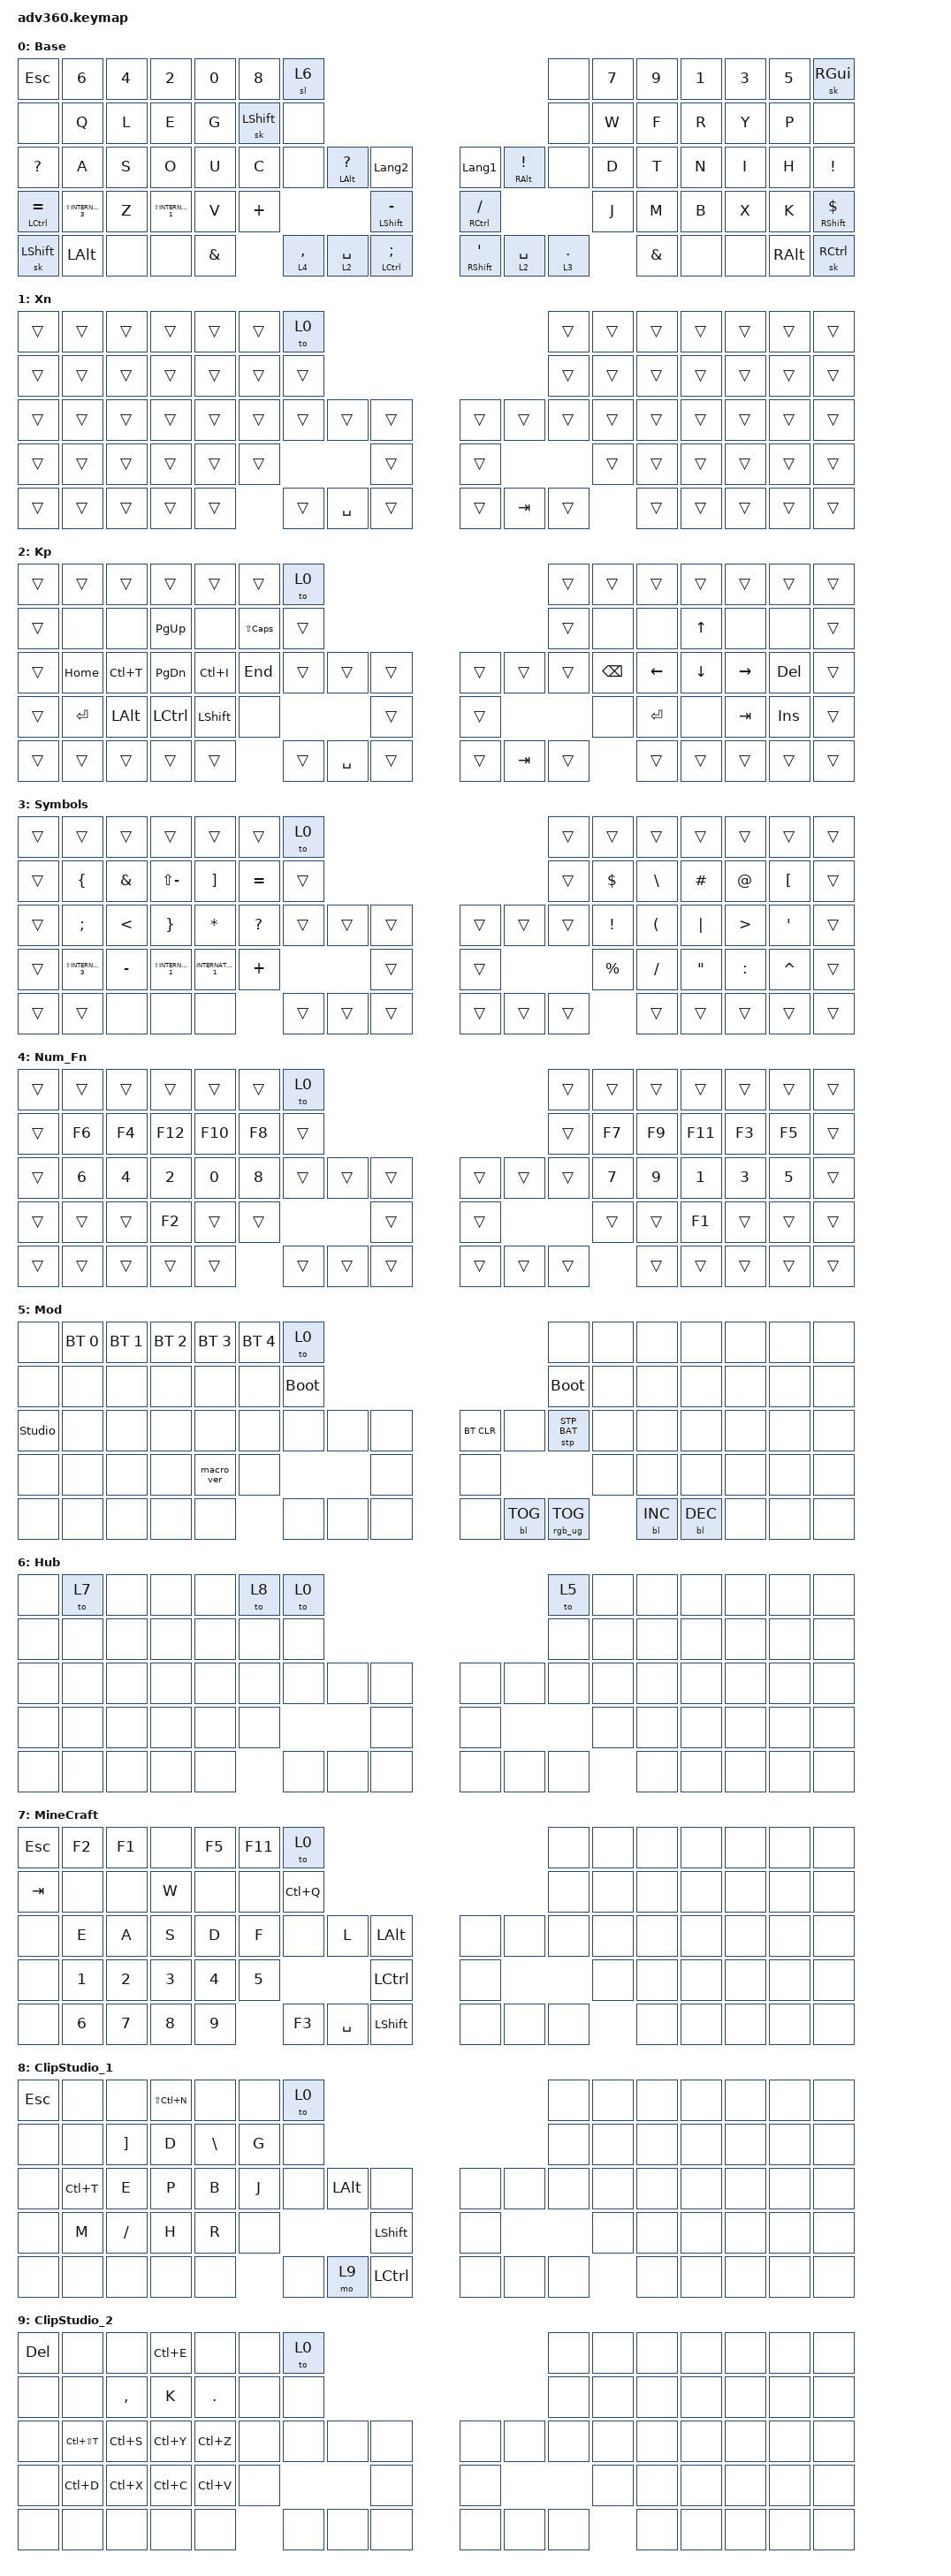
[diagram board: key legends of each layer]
#include <dt-bindings/zmk/stp.h>
#include <behaviors.dtsi>
#include <dt-bindings/zmk/backlight.h>
#include <dt-bindings/zmk/bt.h>
#include <dt-bindings/zmk/keys.h>
#include <dt-bindings/zmk/rgb.h>

#undef CONFIG_ZMK_MACRO_DEFAULT_WAIT_MS

#define CONFIG_ZMK_MACRO_DEFAULT_WAIT_MS 10

#undef CONFIG_ZMK_MACRO_DEFAULT_TAP_MS

#define CONFIG_ZMK_MACRO_DEFAULT_TAP_MS 20

/ {
    behaviors {
        #include "macros.dtsi"
        #include "version.dtsi"

        hm: homerow_mods {
            compatible = "zmk,behavior-hold-tap";
            label = "HOMEROW_MODS";
            #binding-cells = <2>;
            tapping-term-ms = <200>;
            quick_tap_ms = <175>;
            flavor = "tap-preferred";
            bindings = <&kp>, <&kp>;
        };
    };

    macros {
        m_an: m_axn {
            compatible = "zmk,behavior-macro";
            #binding-cells = <0>;
            bindings = <&kp A &kp X>;
            label = "M_AXN";
        };

        m_in: m_ixn {
            compatible = "zmk,behavior-macro";
            #binding-cells = <0>;
            bindings = <&kp I &kp X>;
            label = "M_IXN";
        };

        m_un: m_uxn {
            compatible = "zmk,behavior-macro";
            #binding-cells = <0>;
            bindings = <&kp U &kp X>;
            label = "M_UXN";
        };

        m_en: m_exn {
            compatible = "zmk,behavior-macro";
            #binding-cells = <0>;
            bindings = <&kp E &kp X>;
            label = "M_EXN";
        };

        m_on: m_oxn {
            compatible = "zmk,behavior-macro";
            #binding-cells = <0>;
            bindings = <&kp O &kp X>;
            label = "M_OXN";
        };

        m_UUU: m_UUU {
            compatible = "zmk,behavior-macro";
            #binding-cells = <0>;
            bindings = <&kp F10 &kp F10>;
            label = "M_UUU";
        };

        m_Ull: m_Ull {
            compatible = "zmk,behavior-macro";
            #binding-cells = <0>;
            bindings = <&kp F10 &kp F10 &kp F10>;
            label = "M_ULL";
        };

        m_qn: m_qn {
            compatible = "zmk,behavior-macro";
            #binding-cells = <0>;
            bindings = <&kp Q &kp X>;
            label = "M_QN";
        };

        m_jn: m_jn {
            compatible = "zmk,behavior-macro";
            #binding-cells = <0>;
            bindings = <&kp J &kp X>;
            label = "M_JN";
        };

        m_wn: m_wn {
            compatible = "zmk,behavior-macro";
            #binding-cells = <0>;
            bindings = <&kp W &kp X>;
            label = "M_WN";
        };

        m_vn: m_vn {
            compatible = "zmk,behavior-macro";
            #binding-cells = <0>;
            bindings = <&kp V &kp X>;
            label = "M_VN";
        };

        m_gn: m_gn {
            compatible = "zmk,behavior-macro";
            #binding-cells = <0>;
            bindings = <&kp G &kp X>;
            label = "M_GN";
        };

        m_yn: m_yn {
            compatible = "zmk,behavior-macro";
            #binding-cells = <0>;
            bindings = <&kp Y &kp X>;
            label = "M_YN";
        };

        m_pn: m_pn {
            compatible = "zmk,behavior-macro";
            #binding-cells = <0>;
            bindings = <&kp P &kp X>;
            label = "M_PN";
        };

        m_mn: m_n {
            compatible = "zmk,behavior-macro";
            #binding-cells = <0>;
            bindings = <&kp M &kp X>;
            label = "M_N";
        };

        m_sin: m_sin {
            compatible = "zmk,behavior-macro";
            #binding-cells = <0>;
            bindings = <&kp S &kp I &kp X>;
            label = "M_SIN";
        };

        m_jin: m_jin {
            compatible = "zmk,behavior-macro";
            #binding-cells = <0>;
            bindings = <&kp J &kp I &kp X>;
            label = "M_JIN";
        };

        m__n: m__n {
            compatible = "zmk,behavior-macro";
            #binding-cells = <0>;
            bindings = <&kp MINUS &kp X>;
            label = "M__N";
        };
    };

    keymap {
        compatible = "zmk,keymap";

        default_layer {
            label = "Base";
            bindings = <
&kp ESCAPE              &kp NUMBER_6             &kp NUMBER_4  &kp NUMBER_2             &kp NUMBER_0   &kp NUMBER_8    &sl 6                                                                                                                        &none      &kp NUMBER_7  &kp NUMBER_9   &kp NUMBER_1  &kp NUMBER_3  &kp NUMBER_5   &sk RIGHT_GUI
&none                   &kp Q                    &kp L         &kp E                    &kp G          &sk LEFT_SHIFT  &none                                                                                                                        &none      &kp W         &kp F          &kp R         &kp Y         &kp P          &none
&kp QUESTION            &kp A                    &kp S         &kp O                    &kp U          &kp C           &none        &mt LEFT_ALT QUESTION  &kp LANGUAGE_2                  &kp LANGUAGE_1                &mt RIGHT_ALT EXCLAMATION  &none      &kp D         &kp T          &kp N         &kp I         &kp H          &kp EXCLAMATION
&mt LEFT_CONTROL EQUAL  &kp LS(INTERNATIONAL_3)  &kp Z         &kp LS(INTERNATIONAL_1)  &kp V          &kp PLUS                                            &mt LEFT_SHIFT MINUS            &mt RIGHT_CONTROL SLASH                                             &kp J         &kp M          &kp B         &kp X         &kp K          &mt RIGHT_SHIFT DOLLAR
&sk LEFT_SHIFT          &kp LEFT_ALT             &none         &none                    &kp AMPERSAND                  &lt 4 COMMA  &lt 2 SPACE            &mt LEFT_CONTROL SEMICOLON      &mt RIGHT_SHIFT SINGLE_QUOTE  &lt 2 SPACE                &lt 3 DOT                &kp AMPERSAND  &none         &none         &kp RIGHT_ALT  &sk RIGHT_CONTROL
            >;
        };

        xn {
            label = "Xn";
            bindings = <
&trans  &trans  &trans  &trans  &trans  &trans  &to 0                                           &trans  &trans  &trans  &trans  &trans  &trans  &trans
&trans  &trans  &trans  &trans  &trans  &trans  &trans                                          &trans  &trans  &trans  &trans  &trans  &trans  &trans
&trans  &trans  &trans  &trans  &trans  &trans  &trans  &trans     &trans      &trans  &trans   &trans  &trans  &trans  &trans  &trans  &trans  &trans
&trans  &trans  &trans  &trans  &trans  &trans                     &trans      &trans                   &trans  &trans  &trans  &trans  &trans  &trans
&trans  &trans  &trans  &trans  &trans          &trans  &kp SPACE  &trans      &trans  &kp TAB  &trans          &trans  &trans  &trans  &trans  &trans
            >;
        };

        keypad {
            label = "Kp";
            bindings = <
&trans  &trans     &trans        &trans         &trans          &trans            &to 0                                           &trans  &trans         &trans          &trans          &trans           &trans      &trans
&trans  &none      &none         &kp PAGE_UP    &none           &kp LS(CAPSLOCK)  &trans                                          &trans  &none          &none           &kp UP_ARROW    &none            &none       &trans
&trans  &kp HOME   &kp LC(T)     &kp PAGE_DOWN  &kp LC(I)       &kp END           &trans  &trans     &trans      &trans  &trans   &trans  &kp BACKSPACE  &kp LEFT_ARROW  &kp DOWN_ARROW  &kp RIGHT_ARROW  &kp DELETE  &trans
&trans  &kp ENTER  &kp LEFT_ALT  &kp LCTRL      &kp LEFT_SHIFT  &none                                &trans      &trans                   &none          &kp ENTER       &none           &kp TAB          &kp INSERT  &trans
&trans  &trans     &trans        &trans         &trans                            &trans  &kp SPACE  &trans      &trans  &kp TAB  &trans                 &trans          &trans          &trans           &trans      &trans
            >;
        };

        symbols {
            label = "Symbols";
            bindings = <
&trans  &trans                   &trans         &trans                   &trans               &trans        &to 0                                       &trans  &trans           &trans                &trans             &trans            &trans            &trans
&trans  &kp LEFT_BRACE           &kp AMPERSAND  &kp LS(MINUS)            &kp RIGHT_BRACKET    &kp EQUAL     &trans                                      &trans  &kp DOLLAR       &kp BACKSLASH         &kp HASH           &kp AT_SIGN       &kp LEFT_BRACKET  &trans
&trans  &kp SEMICOLON            &kp LESS_THAN  &kp RIGHT_BRACE          &kp ASTERISK         &kp QUESTION  &trans  &trans  &trans      &trans  &trans  &trans  &kp EXCLAMATION  &kp LEFT_PARENTHESIS  &kp PIPE           &kp GREATER_THAN  &kp SINGLE_QUOTE  &trans
&trans  &kp LS(INTERNATIONAL_3)  &kp MINUS      &kp LS(INTERNATIONAL_1)  &kp INTERNATIONAL_1  &kp PLUS                      &trans      &trans                  &kp PERCENT      &kp SLASH             &kp DOUBLE_QUOTES  &kp COLON         &kp CARET         &trans
&trans  &trans                   &none          &none                    &none                              &trans  &trans  &trans      &trans  &trans  &trans                   &trans                &trans             &trans            &trans            &trans
            >;
        };

        num_fn {
            label = "Num_Fn";
            bindings = <
&trans  &trans        &trans        &trans        &trans        &trans        &to 0                                       &trans  &trans        &trans        &trans        &trans        &trans        &trans
&trans  &kp F6        &kp F4        &kp F12       &kp F10       &kp F8        &trans                                      &trans  &kp F7        &kp F9        &kp F11       &kp F3        &kp F5        &trans
&trans  &kp NUMBER_6  &kp NUMBER_4  &kp NUMBER_2  &kp NUMBER_0  &kp NUMBER_8  &trans  &trans  &trans      &trans  &trans  &trans  &kp NUMBER_7  &kp NUMBER_9  &kp NUMBER_1  &kp NUMBER_3  &kp NUMBER_5  &trans
&trans  &trans        &trans        &kp F2        &trans        &trans                        &trans      &trans                  &trans        &trans        &kp F1        &trans        &trans        &trans
&trans  &trans        &trans        &trans        &trans                      &trans  &trans  &trans      &trans  &trans  &trans                &trans        &trans        &trans        &trans        &trans
            >;
        };

        mod {
            label = "Mod";
            bindings = <
&none           &bt BT_SEL 0  &bt BT_SEL 1  &bt BT_SEL 2  &bt BT_SEL 3  &bt BT_SEL 4  &to 0                                                  &none            &none  &none       &none       &none  &none  &none
&none           &none         &none         &none         &none         &none         &bootloader                                            &bootloader      &none  &none       &none       &none  &none  &none
&studio_unlock  &none         &none         &none         &none         &none         &none        &none  &none      &bt BT_CLR  &none       &stp STP_BAT     &none  &none       &none       &none  &none  &none
&none           &none         &none         &none         &macro_ver    &none                             &none      &none                                    &none  &none       &none       &none  &none  &none
&none           &none         &none         &none         &none                       &none        &none  &none      &none       &bl BL_TOG  &rgb_ug RGB_TOG         &bl BL_INC  &bl BL_DEC  &none  &none  &none
            >;
        };

        hub {
            label = "Hub";
            bindings = <
&none  &to 7  &none  &none  &none  &to 8  &to 0                                  &to 5  &none  &none  &none  &none  &none  &none
&none  &none  &none  &none  &none  &none  &none                                  &none  &none  &none  &none  &none  &none  &none
&none  &none  &none  &none  &none  &none  &none  &none  &none      &none  &none  &none  &none  &none  &none  &none  &none  &none
&none  &none  &none  &none  &none  &none                &none      &none                &none  &none  &none  &none  &none  &none
&none  &none  &none  &none  &none         &none  &none  &none      &none  &none  &none         &none  &none  &none  &none  &none
            >;
        };

        minecraft {
            label = "MineCraft";
            bindings = <
&kp ESCAPE  &kp F2        &kp F1        &none         &kp F5        &kp F11       &to 0                                                     &none  &none  &none  &none  &none  &none  &none
&kp TAB     &none         &none         &kp W         &none         &none         &kp LC(Q)                                                 &none  &none  &none  &none  &none  &none  &none
&none       &kp E         &kp A         &kp S         &kp D         &kp F         &none      &kp L      &kp LEFT_ALT          &none  &none  &none  &none  &none  &none  &none  &none  &none
&none       &kp NUMBER_1  &kp NUMBER_2  &kp NUMBER_3  &kp NUMBER_4  &kp NUMBER_5                        &kp LEFT_CONTROL      &none                &none  &none  &none  &none  &none  &none
&none       &kp NUMBER_6  &kp NUMBER_7  &kp NUMBER_8  &kp NUMBER_9                &kp F3     &kp SPACE  &kp LEFT_SHIFT        &none  &none  &none         &none  &none  &none  &none  &none
            >;
        };

        ClipStudio_1 {
            bindings = <
&kp ESCAPE  &none      &none              &kp LS(LC(N))  &none          &none  &to 0                                                  &none  &none  &none  &none  &none  &none  &none
&none       &none      &kp RIGHT_BRACKET  &kp D          &kp BACKSLASH  &kp G  &none                                                  &none  &none  &none  &none  &none  &none  &none
&none       &kp LC(T)  &kp E              &kp P          &kp B          &kp J  &none  &kp LEFT_ALT  &none               &none  &none  &none  &none  &none  &none  &none  &none  &none
&none       &kp M      &kp SLASH          &kp H          &kp R          &none                       &kp LEFT_SHIFT      &none                &none  &none  &none  &none  &none  &none
&none       &none      &none              &none          &none                 &none  &mo 9         &kp LCTRL           &none  &none  &none         &none  &none  &none  &none  &none
            >;
        };

        ClipStudio_2 {
            bindings = <
&kp DELETE  &none          &none      &kp LC(E)  &none      &none  &to 0                                  &none  &none  &none  &none  &none  &none  &none
&none       &none          &kp COMMA  &kp K      &kp DOT    &none  &none                                  &none  &none  &none  &none  &none  &none  &none
&none       &kp LC(LS(T))  &kp LC(S)  &kp LC(Y)  &kp LC(Z)  &none  &none  &none  &none      &none  &none  &none  &none  &none  &none  &none  &none  &none
&none       &kp LC(D)      &kp LC(X)  &kp LC(C)  &kp LC(V)  &none                &none      &none                &none  &none  &none  &none  &none  &none
&none       &none          &none      &none      &none             &none  &none  &none      &none  &none  &none         &none  &none  &none  &none  &none
            >;
        };
    };
};
